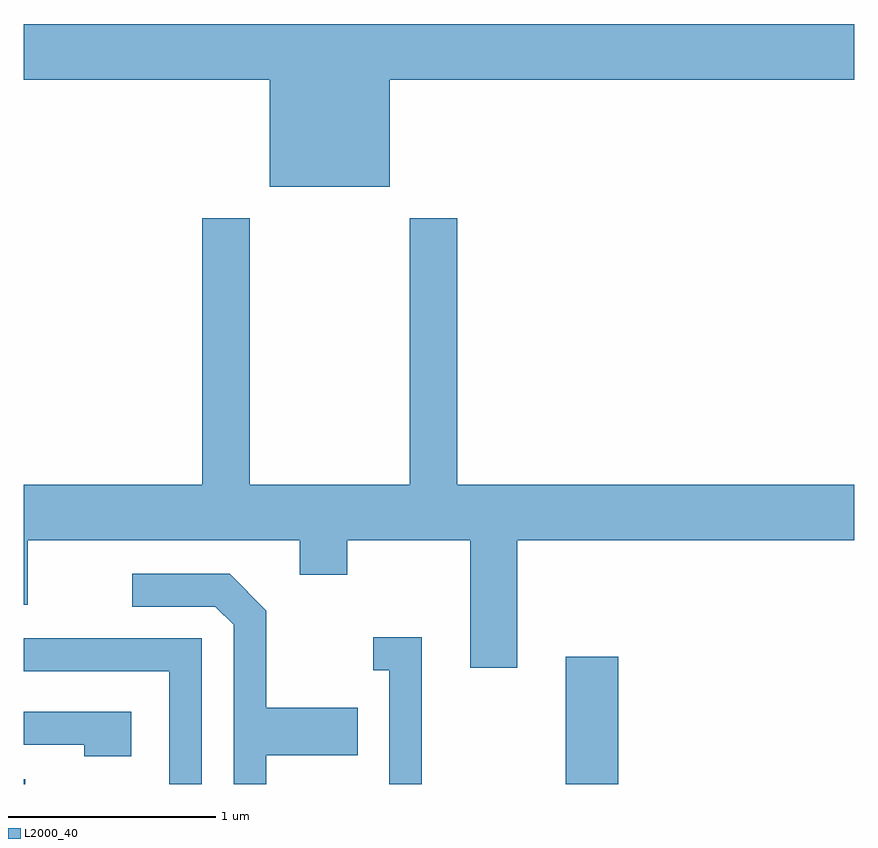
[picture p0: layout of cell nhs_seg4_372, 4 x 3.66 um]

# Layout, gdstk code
import gdstk
lib = gdstk.Library(unit=1e-6, precision=1e-09)
def R(c, l, rs):  # rectangles x0, y0, x1, y1
    for r in rs: c.add(gdstk.rectangle(r[:2], r[2:], *l))
def P(c, l, *ps):  # polygons
    for p in ps: c.add(gdstk.Polygon(p, *l))
L2000_40 = (2000, 40)

nhs_seg4_372 = lib.new_cell('nhs_seg4_372')
R(nhs_seg4_372, L2000_40, [(195.611,1317.982,195.618,1318.004), (198.221,1317.982,198.474,1318.594)])
P(nhs_seg4_372, L2000_40, [(197.374,1321.376),(199.611,1321.376),(199.611,1321.644),(195.611,1321.644),(195.611,1321.376),(196.796,1321.376),(196.796,1320.861),(197.374,1320.861)],
  [(197.989,1319.156),(199.611,1319.156),(199.611,1319.424),(197.699,1319.424),(197.699,1320.709),(197.471,1320.709),(197.471,1319.424),(196.699,1319.424),(196.699,1320.709),(196.471,1320.709),(196.471,1319.424),(195.611,1319.424),(195.611,1318.846),(195.629,1318.846),(195.629,1319.156),(196.941,1319.156),(196.941,1318.991),(197.169,1318.991),(197.169,1319.156),(197.761,1319.156),(197.761,1318.541),(197.989,1318.541)],
  [(196.779,1318.121),(197.219,1318.121),(197.219,1318.349),(196.779,1318.349),(196.779,1318.817),(196.602,1318.994),(196.133,1318.994),(196.133,1318.836),(196.534,1318.836),(196.621,1318.749),(196.621,1317.982),(196.779,1317.982)],
  [(197.529,1318.689),(197.293,1318.689),(197.293,1318.531),(197.371,1318.531),(197.371,1317.982),(197.529,1317.982)],
  [(196.469,1318.684),(195.611,1318.684),(195.611,1318.526),(196.311,1318.526),(196.311,1317.982),(196.469,1317.982)],
  [(196.129,1318.329),(195.611,1318.329),(195.611,1318.171),(195.901,1318.171),(195.901,1318.116),(196.129,1318.116)])

lib.write_gds('nhs_seg4_372.gds')
